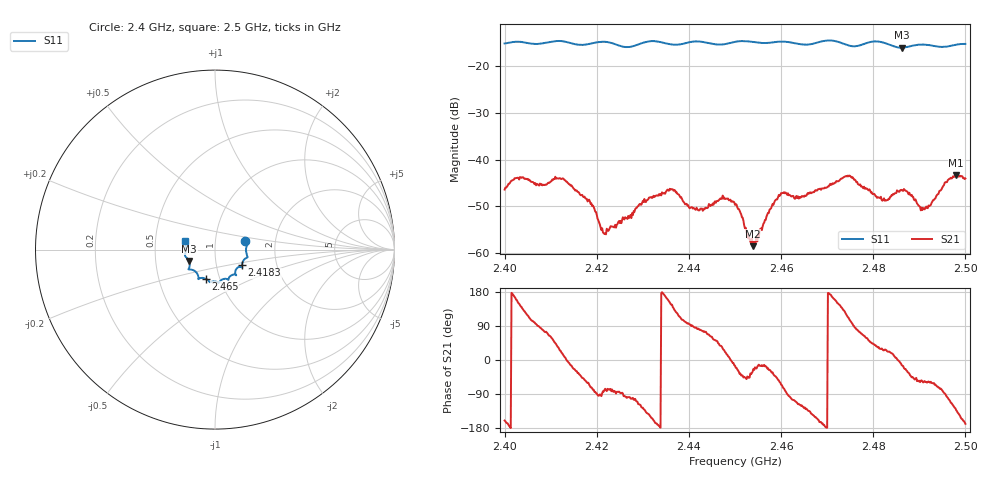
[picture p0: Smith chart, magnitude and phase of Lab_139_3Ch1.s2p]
# Hz S RI R 50
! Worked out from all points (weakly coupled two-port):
!   601 points, 2.4 GHz to 2.5 GHz, reference 50 ohm
!   highest |S21| = -43.33 dB at 2.498 GHz (marker M1); lowest = -58.5 dB at 2.4538 GHz (marker M2)
!   lowest |S11| = -16.0 dB at 2.4862 GHz (marker M3), VSWR 1.37, Z = 37.1 - j4.82 ohm
!   |S11| at or under -10 dB: start of sweep to end of sweep
!   S12 and S22 are empty: the file has one direction only
!   S11 on the Smith chart (normalised r, x): 2.4 GHz: 1.40, +0.13; 2.4183 GHz: 1.33, -0.24; 2.465 GHz: 0.86, -0.29; 2.5 GHz: 0.71, +0.07
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2.4e9  0.169 0.0459  -0.00448 -0.00165  0 0  0 0
2.4025e9  0.1795 0.0347  -0.00593 0.00223  0 0  0 0
2.408667e9  0.1759 -0.0239  0.00142 0.00514  0 0  0 0
2.4115e9  0.1816 -0.0412  0.00514 0.00361  0 0  0 0
2.416667e9  0.1549 -0.068  0.00298 -0.00292  0 0  0 0
2.418333e9  0.1501 -0.0866  0.0016 -0.00336  0 0  0 0
2.421833e9  0.1527 -0.1001  0.000394 -0.00157  0 0  0 0
2.433333e9  0.1169 -0.1411  -0.00406 -0.00061  0 0  0 0
2.4365e9  0.0946 -0.1418  -0.00366 0.00311  0 0  0 0
2.441833e9  0.0743 -0.1689  0.000424 0.00291  0 0  0 0
2.447167e9  0.0419 -0.1657  0.00313 0.00217  0 0  0 0
2.45e9  0.0252 -0.1806  0.00317 -0.000836  0 0  0 0
2.453833e9  0.0151 -0.1815  0.00102 -0.000597  0 0  0 0
2.459833e9  -0.0273 -0.1815  0.0021 -0.0036  0 0  0 0
2.465e9  -0.0527 -0.1621  -0.00242 -0.0032  0 0  0 0
2.466667e9  -0.0712 -0.1576  -0.00351 -0.00271  0 0  0 0
2.4745e9  -0.0982 -0.136  -0.00264 0.00621  0 0  0 0
2.483333e9  -0.1422 -0.096  0.00353 0.00142  0 0  0 0
2.486167e9  -0.1446 -0.0634  0.00461 -0.00108  0 0  0 0
2.490833e9  -0.167 -0.0341  0.00155 -0.0026  0 0  0 0
2.498e9  -0.1664 0.036  -0.00459 -0.00503  0 0  0 0
2.5e9  -0.1669 0.0473  -0.00615 -0.00126  0 0  0 0
